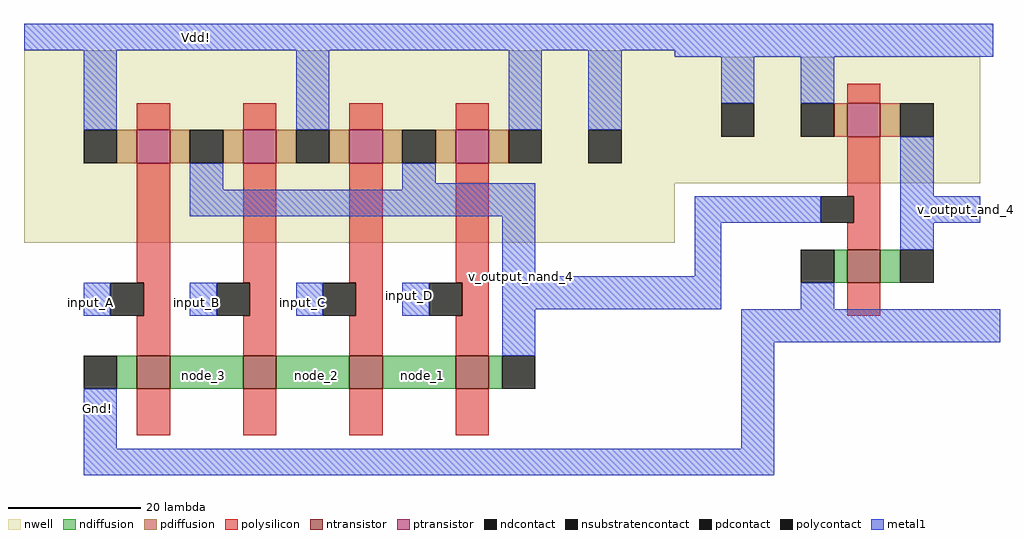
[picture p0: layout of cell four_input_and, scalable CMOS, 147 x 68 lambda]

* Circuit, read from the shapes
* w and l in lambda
.subckt four_input_and Gnd! Vdd! input_A input_B input_C input_D node_1 node_2 node_3 v_output_and_4 v_output_nand_4
M1 node_3 input_A Gnd! VSUBS nfet w=5 l=5
M2 node_2 input_B node_3 VSUBS nfet w=5 l=5
M3 node_1 input_C node_2 VSUBS nfet w=5 l=5
M4 v_output_nand_4 input_D node_1 VSUBS nfet w=5 l=5
M5 v_output_and_4 v_output_nand_4 Gnd! VSUBS nfet w=5 l=5
M6 v_output_nand_4 input_A Vdd! Vdd! pfet w=5 l=5
M7 Vdd! input_B v_output_nand_4 Vdd! pfet w=5 l=5
M8 v_output_nand_4 input_C Vdd! Vdd! pfet w=5 l=5
M9 Vdd! input_D v_output_nand_4 Vdd! pfet w=5 l=5
M10 v_output_and_4 v_output_nand_4 Vdd! Vdd! pfet w=5 l=5
.ends

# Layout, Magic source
magic
tech scmos
<< nwell >>
rect -32 -3 66 26
<< ntransistor >>
rect -15 -25 -10 -20
rect 1 -25 6 -20
rect 17 -25 22 -20
rect 33 -25 38 -20
<< ptransistor >>
rect -15 9 -10 14
rect 1 9 6 14
rect 17 9 22 14
rect 33 9 38 14
<< ndiffusion >>
rect -18 -25 -15 -20
rect -10 -25 1 -20
rect 6 -25 17 -20
rect 22 -25 33 -20
rect 38 -25 40 -20
<< pdiffusion >>
rect -18 9 -15 14
rect -10 9 -7 14
rect -2 9 1 14
rect 6 9 9 14
rect 14 9 17 14
rect 22 9 25 14
rect 30 9 33 14
rect 38 9 41 14
<< ndcontact >>
rect -23 -25 -18 -20
rect 40 -25 45 -20
<< pdcontact >>
rect -23 9 -18 14
rect -7 9 -2 14
rect 9 9 14 14
rect 25 9 30 14
rect 41 9 46 14
<< nsubstratencontact >>
rect 53 9 58 14
<< polysilicon >>
rect -15 14 -10 18
rect 1 14 6 18
rect 17 14 22 18
rect 33 14 38 18
rect -15 -9 -10 9
rect 1 -9 6 9
rect 17 -9 22 9
rect 33 -9 38 9
rect -14 -14 -10 -9
rect 2 -14 6 -9
rect 18 -14 22 -9
rect 34 -14 38 -9
rect -15 -20 -10 -14
rect 1 -20 6 -14
rect 17 -20 22 -14
rect 33 -20 38 -14
rect -15 -32 -10 -25
rect 1 -32 6 -25
rect 17 -32 22 -25
rect 33 -32 38 -25
<< polycontact >>
rect -19 -14 -14 -9
rect -3 -14 2 -9
rect 13 -14 18 -9
rect 29 -14 34 -9
<< metal1 >>
rect -32 26 66 30
rect -23 14 -18 26
rect 9 14 14 26
rect 41 14 46 26
rect 53 14 58 26
rect -7 5 -2 9
rect 25 6 30 9
rect 25 5 45 6
rect -7 1 45 5
rect 40 -8 45 1
rect 69 0 84 4
rect 108 0 112 4
rect 69 -8 73 0
rect -23 -14 -19 -9
rect -7 -14 -3 -9
rect 9 -14 13 -9
rect 25 -14 29 -9
rect 40 -13 73 -8
rect 40 -20 45 -13
rect -23 -34 -18 -25
rect 76 -34 81 -13
rect -23 -38 81 -34
use not_without_labels  not_without_labels_0
transform 1 0 82 0 1 -6
box -16 -12 33 36
<< labels >>
rlabel metal1 -6 28 -6 28 5 Vdd!
rlabel metal1 -22 -12 -22 -12 1 input_A
rlabel metal1 -6 -12 -6 -12 1 input_B
rlabel metal1 10 -12 10 -12 1 input_C
rlabel metal1 26 -11 26 -11 1 input_D
rlabel metal1 43 -8 43 -8 1 v_output_nand_4
rlabel metal1 -21 -28 -21 -28 1 Gnd!
rlabel ndiffusion 28 -23 28 -23 1 node_1
rlabel ndiffusion 12 -23 12 -23 1 node_2
rlabel ndiffusion -5 -23 -5 -23 1 node_3
rlabel metal1 110 2 110 2 7 v_output_and_4
<< end >>

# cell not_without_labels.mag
magic
tech scmos
<< nwell >>
rect -16 12 30 31
<< ntransistor >>
rect 10 -3 15 2
<< ptransistor >>
rect 10 19 15 24
<< ndiffusion >>
rect 8 -3 10 2
rect 15 -3 18 2
<< pdiffusion >>
rect 8 19 10 24
rect 15 19 18 24
<< ndcontact >>
rect 3 -3 8 2
rect 18 -3 23 2
<< pdcontact >>
rect 3 19 8 24
rect 18 19 23 24
<< nsubstratencontact >>
rect -9 19 -4 24
<< polysilicon >>
rect 10 24 15 27
rect 10 10 15 19
rect 11 6 15 10
rect 10 2 15 6
rect 10 -8 15 -3
<< polycontact >>
rect 6 6 11 10
<< metal1 >>
rect -16 31 32 36
rect -9 24 -4 31
rect 3 24 8 31
rect 18 10 23 19
rect 2 6 6 10
rect 18 6 26 10
rect 18 2 23 6
rect 3 -7 8 -3
rect -6 -12 33 -7
<< end >>
